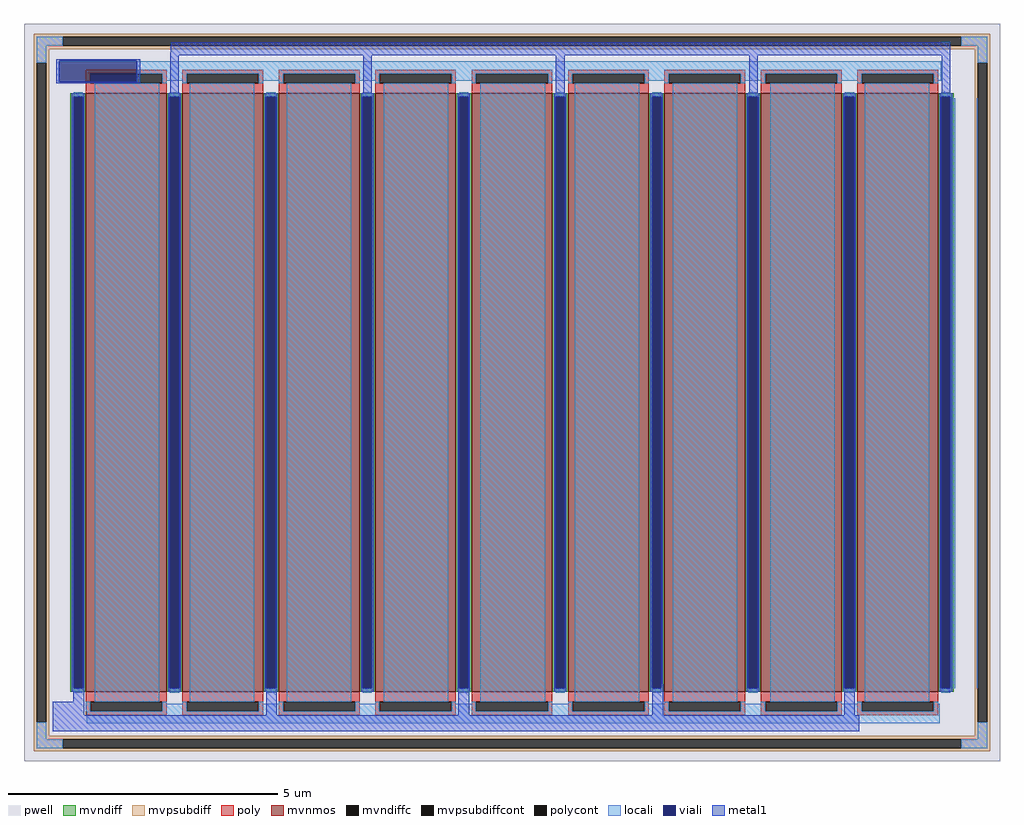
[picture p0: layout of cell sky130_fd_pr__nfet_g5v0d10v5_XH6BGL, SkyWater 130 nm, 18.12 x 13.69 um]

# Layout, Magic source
magic
tech sky130A
magscale 1 2
<< pwell >>
rect -1812 -1369 1812 1369
<< mvnmos >>
rect -1582 -1111 -1282 1111
rect -1224 -1111 -924 1111
rect -866 -1111 -566 1111
rect -508 -1111 -208 1111
rect -150 -1111 150 1111
rect 208 -1111 508 1111
rect 566 -1111 866 1111
rect 924 -1111 1224 1111
rect 1282 -1111 1582 1111
<< mvndiff >>
rect -1640 1099 -1582 1111
rect -1640 -1099 -1628 1099
rect -1594 -1099 -1582 1099
rect -1640 -1111 -1582 -1099
rect -1282 1099 -1224 1111
rect -1282 -1099 -1270 1099
rect -1236 -1099 -1224 1099
rect -1282 -1111 -1224 -1099
rect -924 1099 -866 1111
rect -924 -1099 -912 1099
rect -878 -1099 -866 1099
rect -924 -1111 -866 -1099
rect -566 1099 -508 1111
rect -566 -1099 -554 1099
rect -520 -1099 -508 1099
rect -566 -1111 -508 -1099
rect -208 1099 -150 1111
rect -208 -1099 -196 1099
rect -162 -1099 -150 1099
rect -208 -1111 -150 -1099
rect 150 1099 208 1111
rect 150 -1099 162 1099
rect 196 -1099 208 1099
rect 150 -1111 208 -1099
rect 508 1099 566 1111
rect 508 -1099 520 1099
rect 554 -1099 566 1099
rect 508 -1111 566 -1099
rect 866 1099 924 1111
rect 866 -1099 878 1099
rect 912 -1099 924 1099
rect 866 -1111 924 -1099
rect 1224 1099 1282 1111
rect 1224 -1099 1236 1099
rect 1270 -1099 1282 1099
rect 1224 -1111 1282 -1099
rect 1582 1099 1640 1111
rect 1582 -1099 1594 1099
rect 1628 -1099 1640 1099
rect 1582 -1111 1640 -1099
<< mvndiffc >>
rect -1628 -1099 -1594 1099
rect -1270 -1099 -1236 1099
rect -912 -1099 -878 1099
rect -554 -1099 -520 1099
rect -196 -1099 -162 1099
rect 162 -1099 196 1099
rect 520 -1099 554 1099
rect 878 -1099 912 1099
rect 1236 -1099 1270 1099
rect 1594 -1099 1628 1099
<< mvpsubdiff >>
rect -1776 1321 1776 1333
rect -1776 1287 -1668 1321
rect 1668 1287 1776 1321
rect -1776 1275 1776 1287
rect -1776 1225 -1718 1275
rect -1776 -1225 -1764 1225
rect -1730 -1225 -1718 1225
rect 1718 1225 1776 1275
rect -1776 -1275 -1718 -1225
rect 1718 -1225 1730 1225
rect 1764 -1225 1776 1225
rect 1718 -1275 1776 -1225
rect -1776 -1287 1776 -1275
rect -1776 -1321 -1668 -1287
rect 1668 -1321 1776 -1287
rect -1776 -1333 1776 -1321
<< mvpsubdiffcont >>
rect -1668 1287 1668 1321
rect -1764 -1225 -1730 1225
rect 1730 -1225 1764 1225
rect -1668 -1321 1668 -1287
<< poly >>
rect -1582 1183 -1282 1199
rect -1582 1149 -1566 1183
rect -1298 1149 -1282 1183
rect -1582 1111 -1282 1149
rect -1224 1183 -924 1199
rect -1224 1149 -1208 1183
rect -940 1149 -924 1183
rect -1224 1111 -924 1149
rect -866 1183 -566 1199
rect -866 1149 -850 1183
rect -582 1149 -566 1183
rect -866 1111 -566 1149
rect -508 1183 -208 1199
rect -508 1149 -492 1183
rect -224 1149 -208 1183
rect -508 1111 -208 1149
rect -150 1183 150 1199
rect -150 1149 -134 1183
rect 134 1149 150 1183
rect -150 1111 150 1149
rect 208 1183 508 1199
rect 208 1149 224 1183
rect 492 1149 508 1183
rect 208 1111 508 1149
rect 566 1183 866 1199
rect 566 1149 582 1183
rect 850 1149 866 1183
rect 566 1111 866 1149
rect 924 1183 1224 1199
rect 924 1149 940 1183
rect 1208 1149 1224 1183
rect 924 1111 1224 1149
rect 1282 1183 1582 1199
rect 1282 1149 1298 1183
rect 1566 1149 1582 1183
rect 1282 1111 1582 1149
rect -1582 -1149 -1282 -1111
rect -1582 -1183 -1566 -1149
rect -1298 -1183 -1282 -1149
rect -1582 -1199 -1282 -1183
rect -1224 -1149 -924 -1111
rect -1224 -1183 -1208 -1149
rect -940 -1183 -924 -1149
rect -1224 -1199 -924 -1183
rect -866 -1149 -566 -1111
rect -866 -1183 -850 -1149
rect -582 -1183 -566 -1149
rect -866 -1199 -566 -1183
rect -508 -1149 -208 -1111
rect -508 -1183 -492 -1149
rect -224 -1183 -208 -1149
rect -508 -1199 -208 -1183
rect -150 -1149 150 -1111
rect -150 -1183 -134 -1149
rect 134 -1183 150 -1149
rect -150 -1199 150 -1183
rect 208 -1149 508 -1111
rect 208 -1183 224 -1149
rect 492 -1183 508 -1149
rect 208 -1199 508 -1183
rect 566 -1149 866 -1111
rect 566 -1183 582 -1149
rect 850 -1183 866 -1149
rect 566 -1199 866 -1183
rect 924 -1149 1224 -1111
rect 924 -1183 940 -1149
rect 1208 -1183 1224 -1149
rect 924 -1199 1224 -1183
rect 1282 -1149 1582 -1111
rect 1282 -1183 1298 -1149
rect 1566 -1183 1582 -1149
rect 1282 -1199 1582 -1183
<< polycont >>
rect -1566 1149 -1298 1183
rect -1208 1149 -940 1183
rect -850 1149 -582 1183
rect -492 1149 -224 1183
rect -134 1149 134 1183
rect 224 1149 492 1183
rect 582 1149 850 1183
rect 940 1149 1208 1183
rect 1298 1149 1566 1183
rect -1566 -1183 -1298 -1149
rect -1208 -1183 -940 -1149
rect -850 -1183 -582 -1149
rect -492 -1183 -224 -1149
rect -134 -1183 134 -1149
rect 224 -1183 492 -1149
rect 582 -1183 850 -1149
rect 940 -1183 1208 -1149
rect 1298 -1183 1566 -1149
<< locali >>
rect -1764 1287 -1668 1321
rect 1668 1287 1764 1321
rect -1764 1225 -1730 1287
rect -1393 1183 1593 1230
rect -1298 1158 -1208 1183
rect -1582 1149 -1566 1154
rect -1298 1149 -1282 1158
rect -1224 1149 -1208 1158
rect -940 1158 -850 1183
rect -940 1149 -924 1158
rect -866 1149 -850 1158
rect -582 1158 -492 1183
rect -582 1149 -566 1158
rect -508 1149 -492 1158
rect -224 1158 -134 1183
rect -224 1149 -208 1158
rect -150 1149 -134 1158
rect 134 1158 224 1183
rect 134 1149 150 1158
rect 208 1149 224 1158
rect 492 1158 582 1183
rect 492 1149 508 1158
rect 566 1149 582 1158
rect 850 1158 940 1183
rect 850 1149 866 1158
rect 924 1149 940 1158
rect 1208 1158 1298 1183
rect 1208 1149 1224 1158
rect 1282 1149 1298 1158
rect 1566 1158 1593 1183
rect 1730 1225 1764 1287
rect 1566 1149 1582 1158
rect -1628 1099 -1594 1115
rect -1628 -1115 -1594 -1099
rect -1549 -1149 -1309 1149
rect -1270 1099 -1236 1115
rect -1270 -1115 -1236 -1099
rect -1197 -1149 -957 1149
rect -912 1099 -878 1115
rect -912 -1115 -878 -1099
rect -837 -1149 -597 1149
rect -554 1099 -520 1115
rect -554 -1115 -520 -1099
rect -477 -1149 -237 1149
rect -196 1099 -162 1115
rect -196 -1115 -162 -1099
rect -117 -1149 123 1149
rect 162 1099 196 1115
rect 162 -1115 196 -1099
rect 233 -1149 473 1149
rect 520 1099 554 1115
rect 520 -1115 554 -1099
rect 597 -1149 837 1149
rect 878 1099 912 1115
rect 878 -1115 912 -1099
rect 959 -1149 1199 1149
rect 1236 1099 1270 1115
rect 1236 -1115 1270 -1099
rect 1309 -1149 1549 1149
rect 1594 1099 1628 1115
rect 1628 -1098 1645 1092
rect 1725 -1098 1730 1092
rect 1594 -1115 1628 -1099
rect -1582 -1183 -1566 -1149
rect -1298 -1156 -1282 -1149
rect -1224 -1156 -1208 -1149
rect -1298 -1183 -1208 -1156
rect -940 -1156 -924 -1149
rect -866 -1156 -850 -1149
rect -940 -1183 -850 -1156
rect -582 -1156 -566 -1149
rect -508 -1156 -492 -1149
rect -582 -1183 -492 -1156
rect -224 -1156 -208 -1149
rect -150 -1156 -134 -1149
rect -224 -1183 -134 -1156
rect 134 -1156 150 -1149
rect 208 -1156 224 -1149
rect 134 -1183 224 -1156
rect 492 -1156 508 -1149
rect 566 -1156 582 -1149
rect 492 -1183 582 -1156
rect 850 -1156 866 -1149
rect 924 -1156 940 -1149
rect 850 -1183 940 -1156
rect 1208 -1156 1224 -1149
rect 1282 -1156 1298 -1149
rect 1208 -1183 1298 -1156
rect 1566 -1156 1582 -1149
rect 1566 -1183 1589 -1156
rect -1764 -1287 -1730 -1225
rect -1579 -1228 1589 -1183
rect 1730 -1287 1764 -1225
rect -1764 -1321 -1668 -1287
rect 1668 -1321 1764 -1287
<< viali >>
rect -1681 1183 -1393 1232
rect -1681 1154 -1566 1183
rect -1566 1154 -1393 1183
rect -1628 -1099 -1594 1099
rect -1270 -1099 -1236 1099
rect -912 -1099 -878 1099
rect -554 -1099 -520 1099
rect -196 -1099 -162 1099
rect 162 -1099 196 1099
rect 520 -1099 554 1099
rect 878 -1099 912 1099
rect 1236 -1099 1270 1099
rect 1594 -1099 1628 1099
<< metal1 >>
rect 1595 1300 1627 1302
rect -1267 1264 1627 1300
rect -1269 1252 1627 1264
rect -1693 1232 -1381 1238
rect -1693 1154 -1681 1232
rect -1393 1154 -1381 1232
rect -1693 1148 -1381 1154
rect -1269 1111 -1237 1252
rect -553 1111 -521 1252
rect 163 1111 195 1252
rect 881 1111 913 1252
rect 1595 1111 1627 1252
rect -1634 1099 -1588 1111
rect -1634 -1099 -1628 1099
rect -1594 -1099 -1588 1099
rect -1634 -1111 -1588 -1099
rect -1276 1099 -1230 1111
rect -1276 -1099 -1270 1099
rect -1236 -1099 -1230 1099
rect -1276 -1111 -1230 -1099
rect -918 1099 -872 1111
rect -918 -1099 -912 1099
rect -878 -1099 -872 1099
rect -918 -1111 -872 -1099
rect -560 1099 -514 1111
rect -560 -1099 -554 1099
rect -520 -1099 -514 1099
rect -560 -1111 -514 -1099
rect -202 1099 -156 1111
rect -202 -1099 -196 1099
rect -162 -1099 -156 1099
rect -202 -1111 -156 -1099
rect 156 1099 202 1111
rect 156 -1099 162 1099
rect 196 -1099 202 1099
rect 156 -1111 202 -1099
rect 514 1099 560 1111
rect 514 -1099 520 1099
rect 554 -1084 560 1099
rect 872 1099 918 1111
rect 554 -1099 561 -1084
rect 514 -1111 561 -1099
rect 872 -1099 878 1099
rect 912 -1099 918 1099
rect 872 -1111 918 -1099
rect 1230 1099 1276 1111
rect 1230 -1099 1236 1099
rect 1270 -1099 1276 1099
rect 1230 -1111 1276 -1099
rect 1588 1099 1634 1111
rect 1588 -1099 1594 1099
rect 1628 -1099 1634 1099
rect 1588 -1111 1634 -1099
rect -1629 -1148 -1589 -1111
rect -1705 -1198 -1589 -1148
rect -913 -1198 -873 -1111
rect -199 -1198 -159 -1111
rect 521 -1198 561 -1111
rect 1233 -1198 1273 -1111
rect -1705 -1258 1289 -1198
<< properties >>
string FIXED_BBOX -1747 -1304 1747 1304
string gencell sky130_fd_pr__nfet_g5v0d10v5
string library sky130
string parameters w 11.11 l 1.5 m 1 nf 9 diffcov 100 polycov 100 guard 1 glc 1 grc 1 gtc 1 gbc 1 tbcov 100 rlcov 100 topc 1 botc 1 poverlap 0 doverlap 1 lmin 0.50 wmin 0.42 class mosfet compatible {sky130_fd_pr__nfet_01v8 sky130_fd_pr__nfet_01v8_lvt  sky130_fd_bs_flash__special_sonosfet_star  sky130_fd_pr__nfet_g5v0d10v5 sky130_fd_pr__nfet_05v0_nvt  sky130_fd_pr__nfet_03v3_nvt} full_metal 1 conn_gates 0 viasrc 100 viadrn 100 viagate 100 viagb 0 viagr 0 viagl 0 viagt 0 doports 1
<< end >>
